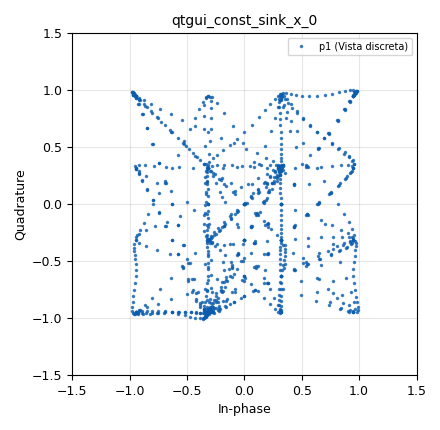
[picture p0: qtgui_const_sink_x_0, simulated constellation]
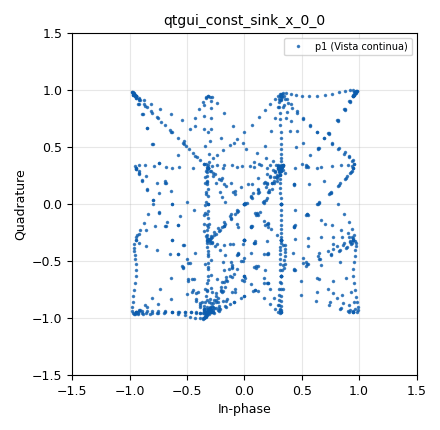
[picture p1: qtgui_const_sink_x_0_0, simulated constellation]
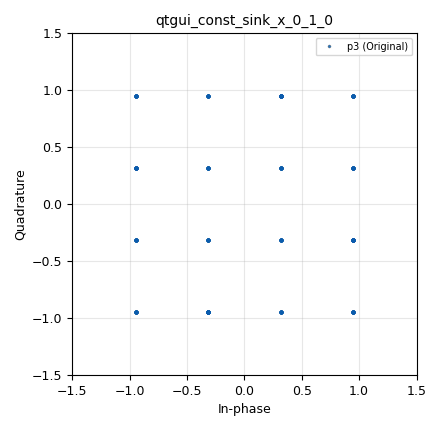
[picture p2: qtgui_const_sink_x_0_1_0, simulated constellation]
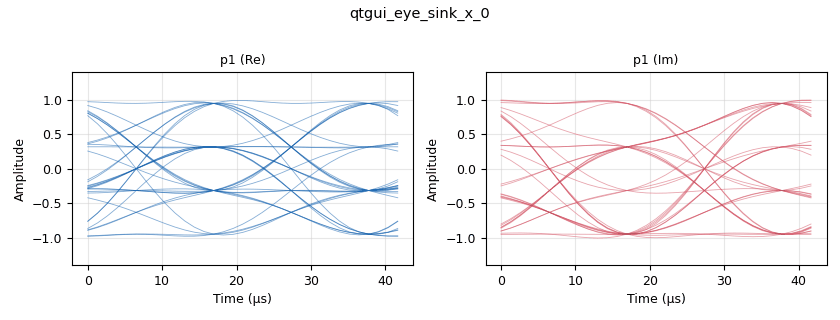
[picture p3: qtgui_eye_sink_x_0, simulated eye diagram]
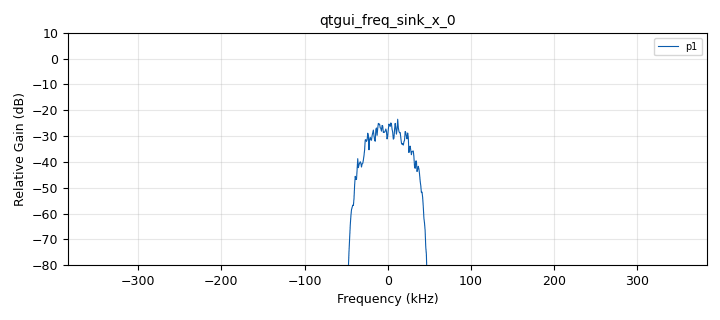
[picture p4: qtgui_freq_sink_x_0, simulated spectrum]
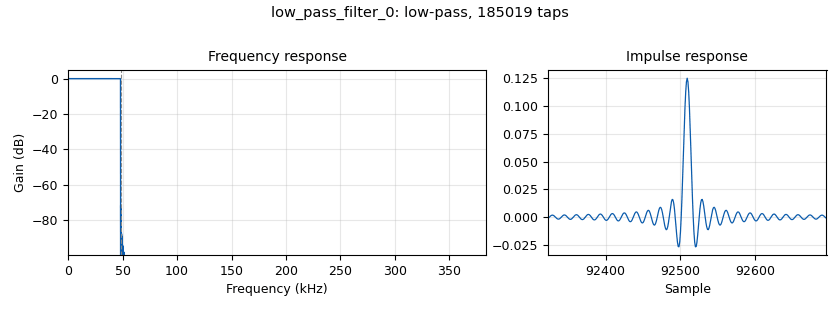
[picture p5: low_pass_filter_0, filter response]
options:
  parameters:
    author: Homero Ortega Boada
    description: Lo máximo para practicar el tema de Filtro Coseno Alzado
    generate_options: qt_gui
    id: top_block
    output_language: python
    title: top_block
  states: {}

blocks:
- name: BW_filtro
  id: variable_qtgui_range
  parameters:
    gui_hint: 0,0,1,1
    start: '0'
    step: Rs/100
    stop: Rs
    value: Rs
  states: {}
- name: Delay_eye
  id: variable_qtgui_range
  parameters:
    gui_hint: 3,0,1,1
    label: Centering the Eye
    rangeType: int
    start: '0'
    step: '1'
    stop: Sps-1
    value: int(Sps/2)-1
  states: {}
- name: Fmax
  id: variable
  parameters:
    value: samp_rate/2
  states: {}
- name: M
  id: variable
  parameters:
    value: len(constelacion )
  states: {}
- name: Pn
  id: variable_qtgui_range
  parameters:
    gui_hint: 2,0,1,1
    label: Potencia del ruido
    start: '0'
    step: 0.1/100
    stop: '0.1'
    value: '0'
  states: {}
- name: Rb
  id: variable
  parameters:
    value: Rs*bps
  states: {}
- name: Rs
  id: variable
  parameters:
    value: '48000'
  states: {}
- name: Sps
  id: variable
  parameters:
    value: '16'
  states: {}
- name: beta
  id: variable_qtgui_range
  parameters:
    gui_hint: 1,0,1,1
    label: beta
    start: '0'
    step: 1/100
    stop: '1'
    value: '1'
  states: {}
- name: bps
  id: variable
  parameters:
    value: int(math.log(M,2))
  states: {}
- name: constelacion
  id: variable
  parameters:
    value: " [\n    0.948683+0.948683j,  # 0000\n    0.948683+0.316228j,  # 0001\n    0.948683-0.316228j,  # 0011\n    0.948683-0.948683j,  # 0010\n    0.316228+0.948683j,  # 0100\n    0.316228+0.316228j,  # 0101\n    0.316228-0.316228j,  # 0111\n    0.316228-0.948683j,  # 0110\n   -0.316228-0.948683j,  # 1110\n   -0.316228-0.316228j,  # 1111\n   -0.316228+0.316228j,  # 1101\n   -0.316228+0.948683j,  # 1100\n   -0.948683+0.948683j,  # 1000\n   -0.948683+0.316228j,  # 1001\n   -0.948683-0.316228j,  # 1011\n   -0.948683-0.948683j   # 1010\n]"
  states: {}
- name: h
  id: variable
  parameters:
    value: '[1]*Sps'
  states: {state: disabled}
- name: h
  id: variable
  parameters:
    value: wform.rcos(Sps,ntaps,beta)
  states: {}
- name: h
  id: variable
  parameters:
    value: wform.rrcos(Sps,ntaps,beta)
  states: {state: disabled}
- name: ntaps
  id: variable
  parameters:
    value: 16*Sps
  states: {}
- name: samp_rate
  id: variable
  parameters:
    value: Rs*Sps
  states: {}
- name: analog_noise_source_x_0
  id: analog_noise_source_x
  parameters:
    amp: math.sqrt(Pn)
    noise_type: analog.GR_GAUSSIAN
    seed: '0'
    type: complex
  states: {}
- name: analog_random_source_x_0
  id: analog_random_source_x
  parameters:
    max: '2'
    min: '0'
    num_samps: '1000'
    repeat: 'True'
    type: byte
  states: {}
- name: blocks_add_xx_0
  id: blocks_add_xx
  parameters:
    type: complex
  states: {}
- name: blocks_complex_to_float_0
  id: blocks_complex_to_float
  parameters: {}
  states: {}
- name: blocks_delay_0
  id: blocks_delay
  parameters:
    delay: Delay_eye
    type: complex
  states: {}
- name: blocks_pack_k_bits_bb_0
  id: blocks_pack_k_bits_bb
  parameters:
    k: '8'
  states: {}
- name: blocks_packed_to_unpacked_xx_0
  id: blocks_packed_to_unpacked_xx
  parameters:
    bits_per_chunk: bps
    endianness: gr.GR_MSB_FIRST
    type: byte
  states: {}
- name: digital_chunks_to_symbols_xx_0
  id: digital_chunks_to_symbols_xx
  parameters:
    dimension: '1'
    in_type: byte
    out_type: complex
    symbol_table: constelacion
  states: {}
- name: import_0
  id: import
  parameters:
    imports: import math
  states: {}
- name: interp_fir_filter_xxx_0
  id: interp_fir_filter_xxx
  parameters:
    interp: Sps
    taps: h
    type: ccf
  states: {}
- name: low_pass_filter_0
  id: low_pass_filter
  parameters:
    cutoff_freq: BW_filtro
    decim: '1'
    gain: '1'
    samp_rate: samp_rate
    type: fir_filter_ccf
    width: '10'
    win: window.WIN_HAMMING
  states: {}
- name: menu
  id: qtgui_tab_widget
  parameters:
    gui_hint: 4,0,1,1
    label0: Time
    label1: PSD
    label2: Eye Diagram
    label3: Constellation
    num_tabs: '4'
  states: {}
- name: qtgui_const_sink_x_0
  id: qtgui_const_sink_x
  parameters:
    gui_hint: menu@3:0,0,1,1
    label1: p1 (Vista discreta)
    size: '1024'
    type: complex
    xmax: '1.5'
    xmin: '-1.5'
    ymax: '1.5'
    ymin: '-1.5'
  states: {}
- name: qtgui_const_sink_x_0_0
  id: qtgui_const_sink_x
  parameters:
    color1: '"magenta"'
    gui_hint: menu@3:0,1,1,1
    label1: p1 (Vista continua)
    marker1: '-1'
    size: '1024'
    style1: '1'
    type: complex
    width1: '3'
    xmax: '1.5'
    xmin: '-1.5'
    ymax: '1.5'
    ymin: '-1.5'
  states: {}
- name: qtgui_const_sink_x_0_1
  id: qtgui_const_sink_x
  parameters:
    gui_hint: menu@3:1,0,1,1
    label1: p2 (Ruido)
    size: '1024'
    type: complex
    xmax: '0.5'
    xmin: '-0.5'
    ymax: '0.5'
    ymin: '-0.5'
  states: {}
- name: qtgui_const_sink_x_0_1_0
  id: qtgui_const_sink_x
  parameters:
    gui_hint: menu@3:1,1,1,1
    label1: p3 (Original)
    size: '1024'
    type: complex
    xmax: '1.5'
    xmin: '-1.5'
    ymax: '1.5'
    ymin: '-1.5'
  states: {}
- name: qtgui_eye_sink_x_0
  id: qtgui_eye_sink_x
  parameters:
    gui_hint: menu@2:1,0,1,1
    label1: p1 (Re)
    label2: p1 (Im)
    samp_per_symbol: Sps
    size: '1024'
    srate: samp_rate
    type: complex
    width1: '4'
    width2: '4'
    ymax: '1.4'
    ymin: '-1.4'
  states: {}
- name: qtgui_freq_sink_x_0
  id: qtgui_freq_sink_x
  parameters:
    average: '0.05'
    bw: samp_rate
    fc: '0'
    fftsize: '1024'
    gui_hint: menu@1:0,0,1,1
    label1: p1
    type: complex
    width1: '3'
    ymin: '-80'
  states: {}
- name: qtgui_freq_sink_x_0_0
  id: qtgui_freq_sink_x
  parameters:
    average: '0.05'
    bw: samp_rate
    fc: '0'
    fftsize: '1024'
    gui_hint: menu@1:1,0,1,1
    label1: Ruido
    type: complex
    width1: '3'
    ymin: '-80'
  states: {}
- name: qtgui_time_sink_x_0
  id: qtgui_time_sink_x
  parameters:
    gui_hint: menu@0:1,0,1,1
    label1: p1 (Re)
    size: 16*Sps
    srate: samp_rate
    type: float
    width1: '3'
    ymax: '1.5'
    ymin: '-1.5'
  states: {}
- name: qtgui_time_sink_x_0_0
  id: qtgui_time_sink_x
  parameters:
    color1: red
    gui_hint: menu@0:2,0,1,1
    label1: p1 (Im)
    size: 16*Sps
    srate: samp_rate
    type: float
    width1: '3'
    ymax: '1.5'
    ymin: '-1.5'
  states: {}
- name: virtual_sink_0
  id: virtual_sink
  parameters:
    stream_id: p1
  states: {}
- name: virtual_sink_0_0
  id: virtual_sink
  parameters:
    stream_id: p2
  states: {}
- name: virtual_sink_0_0_0
  id: virtual_sink
  parameters:
    stream_id: p3
  states: {}
- name: virtual_source_0
  id: virtual_source
  parameters:
    stream_id: p1
  states: {}
- name: virtual_source_0_0
  id: virtual_source
  parameters:
    stream_id: p2
  states: {}
- name: virtual_source_0_0_0
  id: virtual_source
  parameters:
    stream_id: p3
  states: {}
- name: wform
  id: epy_module
  parameters:
    source_code: |
      import math
      import numpy
      #######################################################
      ##        Hecho por Homero Ortega Boada              ##
      ##        comdiguis@saber.uis.edu.co                 ##
      ##     Universidad Industrial de Santander           ##
      #######################################################

      #######################################################
      ##               Forma rectangular                   ##
      #######################################################                       
      def rect(Sps):
          return Sps*[1.,]

      #######################################################
      ##               Forma de Nyquist                    ##
      #######################################################                       
      def nyq(Sps,ntaps):
          n=numpy.linspace(-int(ntaps/2), int(ntaps/2-1),ntaps)
          h=numpy.sinc(n/Sps)
      #    return h/numpy.amax(h)
          return h
      #######################################################
      ##               Forma Coseno Alzado                 ##
      #######################################################                       
      def rcos(Sps,ntaps,beta):
          if beta==0:
              h=nyq(Sps,ntaps)
          else:
              h=ntaps*[0,]
              for n in range(ntaps):
                  k=n-ntaps/2. # esto es para que h[n] quede centrada en la mitad del vector
                  if abs(k)==Sps/(2.*beta):
                      h[n]=numpy.sinc(1./(2.*beta))*math.pi/4.
                  else:
                      h[n]=numpy.sinc(k/Sps)*math.cos(beta*k*math.pi/Sps)/(1.-(2.*beta*k/Sps)**2)                
          Amp=numpy.amax(h)
          return h/Amp
      #######################################################
      ##            Forma Raiz de Coseno Alzado            ##
      #######################################################                       

      def rrcos(Sps,ntaps,beta):
          if beta==0:
              h=nyq(Sps,ntaps)
          else:
              h=ntaps*[0,]
              beta4=4.*beta
              for n in range(ntaps):
                  k=n-ntaps/2. # esto es para que h[n] quede centrada en la mitad del vector
                  if k==0:
                      h[n]=1+beta*(4./math.pi-1.)
                  elif abs(k)==Sps/beta4:
                      ha=(1.+2./math.pi)*math.sin(math.pi/beta4)
                      hb=(1.-2./math.pi)*math.cos(math.pi/beta4)
                      h[n]=(ha+hb)*beta/math.sqrt(2.)
                  else:
                      ks=k/Sps
                      kspi=math.pi*ks
                      Num=math.sin(kspi*(1-beta))+beta4*ks*math.cos(kspi*(1+beta))
                      Den=kspi*(1.-(beta4*ks)**2)
                      h[n]=Num/Den                
          Amp=numpy.amax(h)
          return h/Amp
      ########################################################
      ##     Bipolar non return to zero level signal        ##
      ########################################################
      def B_NRZ_L(Sps):
          return Sps*[1.,]

      ########################################################
      ##  Forma sinc . Es la misma nyq() que aparece arriba ##
      ########################################################
      def sinc(Sps,ntaps):
          n=np.linspace(-int(ntaps/2), int(ntaps/2-1),ntaps)
          h=np.sinc(n/Sps)
          return h
      ########################################################
      ##              forma diente se sierra                ##
      ########################################################
      def saw(Sps):
          return np.linspace(0,Sps-1,Sps)	
      ########################################################
      #         Bipolar non return to zero signal           ##
      ########################################################
      def RZ(Sps):
          h=Sps*[1.,]
          Sps_m=int(Sps/2)
          h[Sps_m+1:Sps:1]=np.zeros(Sps-Sps_m)
          return h
  states: {}

connections:
- [analog_noise_source_x_0, '0', blocks_add_xx_0, '0']
- [analog_noise_source_x_0, '0', virtual_sink_0_0, '0']
- [analog_random_source_x_0, '0', blocks_pack_k_bits_bb_0, '0']
- [blocks_add_xx_0, '0', virtual_sink_0, '0']
- [blocks_complex_to_float_0, '0', qtgui_time_sink_x_0, '0']
- [blocks_complex_to_float_0, '1', qtgui_time_sink_x_0_0, '0']
- [blocks_delay_0, '0', qtgui_eye_sink_x_0, '0']
- [blocks_pack_k_bits_bb_0, '0', blocks_packed_to_unpacked_xx_0, '0']
- [blocks_packed_to_unpacked_xx_0, '0', digital_chunks_to_symbols_xx_0, '0']
- [digital_chunks_to_symbols_xx_0, '0', interp_fir_filter_xxx_0, '0']
- [digital_chunks_to_symbols_xx_0, '0', virtual_sink_0_0_0, '0']
- [interp_fir_filter_xxx_0, '0', low_pass_filter_0, '0']
- [low_pass_filter_0, '0', blocks_add_xx_0, '1']
- [virtual_source_0, '0', blocks_complex_to_float_0, '0']
- [virtual_source_0, '0', blocks_delay_0, '0']
- [virtual_source_0, '0', qtgui_const_sink_x_0, '0']
- [virtual_source_0, '0', qtgui_const_sink_x_0_0, '0']
- [virtual_source_0, '0', qtgui_freq_sink_x_0, '0']
- [virtual_source_0_0, '0', qtgui_const_sink_x_0_1, '0']
- [virtual_source_0_0, '0', qtgui_freq_sink_x_0_0, '0']
- [virtual_source_0_0_0, '0', qtgui_const_sink_x_0_1_0, '0']

metadata:
  file_format: 1
  grc_version: 3.10.12.0
